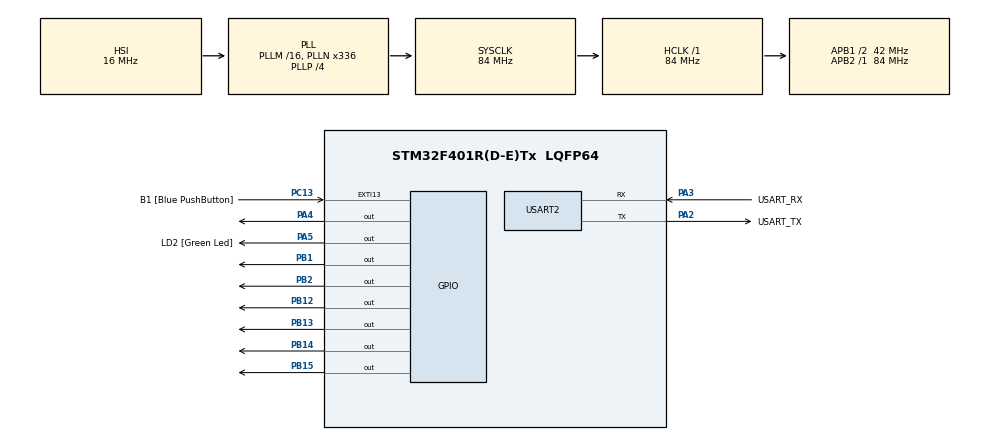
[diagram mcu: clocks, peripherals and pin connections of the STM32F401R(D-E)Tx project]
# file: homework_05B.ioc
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Dma.Request0=USART2_RX
Dma.USART2_RX.0.Direction=DMA_PERIPH_TO_MEMORY
Dma.USART2_RX.0.FIFOMode=DMA_FIFOMODE_DISABLE
Dma.USART2_RX.0.Instance=DMA1_Stream5
Dma.USART2_RX.0.MemDataAlignment=DMA_MDATAALIGN_BYTE
Dma.USART2_RX.0.MemInc=DMA_MINC_ENABLE
Dma.USART2_RX.0.Mode=DMA_NORMAL
Dma.USART2_RX.0.PeriphDataAlignment=DMA_PDATAALIGN_BYTE
Dma.USART2_RX.0.PeriphInc=DMA_PINC_DISABLE
Dma.USART2_RX.0.Priority=DMA_PRIORITY_LOW
Mcu.Family=STM32F4
Mcu.Name=STM32F401R(D-E)Tx
Mcu.Package=LQFP64
NVIC.DMA1_Stream5_IRQn=true\:0\:0\:false\:false\:true\:false\:true\:true
NVIC.PriorityGroup=NVIC_PRIORITYGROUP_4
NVIC.TIM2_IRQn=true\:0\:0\:false\:false\:true\:true\:true\:true
NVIC.USART2_IRQn=true\:0\:0\:false\:false\:true\:true\:true\:true
PA13.GPIO_Label=TMS
PA13.Mode=Trace_Asynchronous_SW
PA13.Signal=SYS_JTMS-SWDIO
PA14.GPIO_Label=TCK
PA14.Mode=Trace_Asynchronous_SW
PA14.Signal=SYS_JTCK-SWCLK
PA2.GPIO_Label=USART_TX
PA2.GPIO_Mode=GPIO_MODE_AF_PP
PA2.GPIO_PuPd=GPIO_NOPULL
PA2.GPIO_Speed=GPIO_SPEED_FREQ_LOW
PA2.Mode=Asynchronous
PA2.Signal=USART2_TX
PA3.GPIO_Label=USART_RX
PA3.GPIO_Mode=GPIO_MODE_AF_PP
PA3.GPIO_PuPd=GPIO_NOPULL
PA3.GPIO_Speed=GPIO_SPEED_FREQ_LOW
PA3.Mode=Asynchronous
PA3.Signal=USART2_RX
PA4.Signal=GPIO_Output
PA5.GPIO_Label=LD2 [Green Led]
PA5.GPIO_Mode=GPIO_MODE_OUTPUT_PP
PA5.GPIO_PuPd=GPIO_NOPULL
PA5.GPIO_Speed=GPIO_SPEED_FREQ_LOW
PA5.Signal=GPIO_Output
PB1.Signal=GPIO_Output
PB12.Signal=GPIO_Output
PB13.Signal=GPIO_Output
PB14.Signal=GPIO_Output
PB15.Signal=GPIO_Output
PB2.Signal=GPIO_Output
PB3.GPIO_Label=SWO
PB3.Mode=Trace_Asynchronous_SW
PB3.Signal=SYS_JTDO-SWO
PC13-ANTI_TAMP.GPIO_Label=B1 [Blue PushButton]
PC13-ANTI_TAMP.GPIO_ModeDefaultEXTI=GPIO_MODE_IT_FALLING
PC13-ANTI_TAMP.GPIO_PuPd=GPIO_NOPULL
PC13-ANTI_TAMP.Signal=GPXTI13
PC14-OSC32_IN.Mode=LSE-External-Oscillator
PC14-OSC32_IN.Signal=RCC_OSC32_IN
PC15-OSC32_OUT.Mode=LSE-External-Oscillator
PC15-OSC32_OUT.Signal=RCC_OSC32_OUT
PH0\ -\ OSC_IN.Mode=HSE-External-Clock-Source
PH0\ -\ OSC_IN.Signal=RCC_OSC_IN
PH1\ -\ OSC_OUT.Mode=HSE-External-Clock-Source
PH1\ -\ OSC_OUT.Signal=RCC_OSC_OUT
ProjectManager.HeapSize=0x200
ProjectManager.StackSize=0x400
ProjectManager.TargetToolchain=CMake
RCC.48MHZClocksFreq_Value=48000000
RCC.AHBFreq_Value=84000000
RCC.APB1CLKDivider=RCC_HCLK_DIV2
RCC.APB1Freq_Value=42000000
RCC.APB1TimFreq_Value=84000000
RCC.APB2Freq_Value=84000000
RCC.APB2TimFreq_Value=84000000
RCC.CortexFreq_Value=84000000
RCC.HCLKFreq_Value=84000000
RCC.HSE_VALUE=8000000
RCC.HSI_VALUE=16000000
RCC.PLLN=336
RCC.PLLP=RCC_PLLP_DIV4
RCC.PLLQ=7
RCC.SYSCLKFreq_VALUE=84000000
RCC.SYSCLKSource=RCC_SYSCLKSOURCE_PLLCLK
RCC.VCOOutputFreq_Value=336000000
TIM2.Period=1000-1
TIM2.Prescaler=84-1
USART2.VirtualMode=VM_ASYNC
VP_TIM2_VS_ClockSourceINT.Mode=Internal
board=NUCLEO-F401RE

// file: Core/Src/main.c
/* USER CODE BEGIN Header */
/**
  ******************************************************************************
  * @file           : main.c
  * @brief          : Main program body
  ******************************************************************************
  * @attention
  *
  * Copyright (c) 2026 STMicroelectronics.
  * All rights reserved.
  *
  * This software is licensed under terms that can be found in the LICENSE file
  * in the root directory of this software component.
  * If no LICENSE file comes with this software, it is provided AS-IS.
  *
  ******************************************************************************
  */
/* USER CODE END Header */
#include "main.h"

/* USER CODE BEGIN Includes */
#include "PMDB16_LCD.h"
#include <string.h>
#include <stdio.h>
#include <stdbool.h>
/* USER CODE END Includes */

TIM_HandleTypeDef htim2;

UART_HandleTypeDef huart2;
DMA_HandleTypeDef hdma_usart2_rx;

/* USER CODE BEGIN PV */
#define RX_SIZE 128 // max size is 64, we put 128 to better handle corner cases
char rx[RX_SIZE];
char first_line[17];
char second_line[17];
int timer = 0;
int message_offset = 0;
bool exceeded = false;
/* USER CODE END PV */

void SystemClock_Config(void);
static void MX_GPIO_Init(void);
static void MX_DMA_Init(void);
static void MX_USART2_UART_Init(void);
static void MX_TIM2_Init(void);

int main(void)
{

  /* MCU Configuration--------------------------------------------------------*/

  /* Reset of all peripherals, Initializes the Flash interface and the Systick. */
  HAL_Init();

  /* Configure the system clock */
  SystemClock_Config();

  /* Initialize all configured peripherals */
  MX_GPIO_Init();
  MX_DMA_Init();
  MX_USART2_UART_Init();
  MX_TIM2_Init();
  /* USER CODE BEGIN 2 */
  lcd_initialize();
  lcd_backlight_ON();
  lcd_clear();

  HAL_UARTEx_ReceiveToIdle_DMA(&huart2, (uint8_t*)rx, RX_SIZE);
  __HAL_DMA_DISABLE_IT(&hdma_usart2_rx, DMA_IT_HT);
  /* USER CODE END 2 */

  /* Infinite loop */
  while (1)
  {

  }
}

void SystemClock_Config(void)
{
  RCC_OscInitTypeDef RCC_OscInitStruct = {0};
  RCC_ClkInitTypeDef RCC_ClkInitStruct = {0};

  /** Configure the main internal regulator output voltage
  */
  __HAL_RCC_PWR_CLK_ENABLE();
  __HAL_PWR_VOLTAGESCALING_CONFIG(PWR_REGULATOR_VOLTAGE_SCALE2);

  /** Initializes the RCC Oscillators according to the specified parameters
  * in the RCC_OscInitTypeDef structure.
  */
  RCC_OscInitStruct.OscillatorType = RCC_OSCILLATORTYPE_HSI;
  RCC_OscInitStruct.HSIState = RCC_HSI_ON;
  RCC_OscInitStruct.HSICalibrationValue = RCC_HSICALIBRATION_DEFAULT;
  RCC_OscInitStruct.PLL.PLLState = RCC_PLL_ON;
  RCC_OscInitStruct.PLL.PLLSource = RCC_PLLSOURCE_HSI;
  RCC_OscInitStruct.PLL.PLLM = 16;
  RCC_OscInitStruct.PLL.PLLN = 336;
  RCC_OscInitStruct.PLL.PLLP = RCC_PLLP_DIV4;
  RCC_OscInitStruct.PLL.PLLQ = 7;
  if (HAL_RCC_OscConfig(&RCC_OscInitStruct) != HAL_OK)
  {
    Error_Handler();
  }

  /** Initializes the CPU, AHB and APB buses clocks
  */
  RCC_ClkInitStruct.ClockType = RCC_CLOCKTYPE_HCLK|RCC_CLOCKTYPE_SYSCLK
                              |RCC_CLOCKTYPE_PCLK1|RCC_CLOCKTYPE_PCLK2;
  RCC_ClkInitStruct.SYSCLKSource = RCC_SYSCLKSOURCE_PLLCLK;
  RCC_ClkInitStruct.AHBCLKDivider = RCC_SYSCLK_DIV1;
  RCC_ClkInitStruct.APB1CLKDivider = RCC_HCLK_DIV2;
  RCC_ClkInitStruct.APB2CLKDivider = RCC_HCLK_DIV1;

  if (HAL_RCC_ClockConfig(&RCC_ClkInitStruct, FLASH_LATENCY_2) != HAL_OK)
  {
    Error_Handler();
  }
}

static void MX_TIM2_Init(void)
{

  TIM_ClockConfigTypeDef sClockSourceConfig = {0};
  TIM_MasterConfigTypeDef sMasterConfig = {0};

  htim2.Instance = TIM2;
  htim2.Init.Prescaler = 84-1;
  htim2.Init.CounterMode = TIM_COUNTERMODE_UP;
  htim2.Init.Period = 1000-1;
  htim2.Init.ClockDivision = TIM_CLOCKDIVISION_DIV1;
  htim2.Init.AutoReloadPreload = TIM_AUTORELOAD_PRELOAD_DISABLE;
  if (HAL_TIM_Base_Init(&htim2) != HAL_OK)
  {
    Error_Handler();
  }
  sClockSourceConfig.ClockSource = TIM_CLOCKSOURCE_INTERNAL;
  if (HAL_TIM_ConfigClockSource(&htim2, &sClockSourceConfig) != HAL_OK)
  {
    Error_Handler();
  }
  sMasterConfig.MasterOutputTrigger = TIM_TRGO_RESET;
  sMasterConfig.MasterSlaveMode = TIM_MASTERSLAVEMODE_DISABLE;
  if (HAL_TIMEx_MasterConfigSynchronization(&htim2, &sMasterConfig) != HAL_OK)
  {
    Error_Handler();
  }

}

static void MX_USART2_UART_Init(void)
{

  huart2.Instance = USART2;
  huart2.Init.BaudRate = 115200;
  huart2.Init.WordLength = UART_WORDLENGTH_8B;
  huart2.Init.StopBits = UART_STOPBITS_1;
  huart2.Init.Parity = UART_PARITY_NONE;
  huart2.Init.Mode = UART_MODE_TX_RX;
  huart2.Init.HwFlowCtl = UART_HWCONTROL_NONE;
  huart2.Init.OverSampling = UART_OVERSAMPLING_16;
  if (HAL_UART_Init(&huart2) != HAL_OK)
  {
    Error_Handler();
  }

}

static void MX_DMA_Init(void)
{

  /* DMA controller clock enable */
  __HAL_RCC_DMA1_CLK_ENABLE();

  /* DMA interrupt init */
  /* DMA1_Stream5_IRQn interrupt configuration */
  HAL_NVIC_SetPriority(DMA1_Stream5_IRQn, 0, 0);
  HAL_NVIC_EnableIRQ(DMA1_Stream5_IRQn);

}

static void MX_GPIO_Init(void)
{
  GPIO_InitTypeDef GPIO_InitStruct = {0};

  /* GPIO Ports Clock Enable */
  __HAL_RCC_GPIOC_CLK_ENABLE();
  __HAL_RCC_GPIOH_CLK_ENABLE();
  __HAL_RCC_GPIOA_CLK_ENABLE();
  __HAL_RCC_GPIOB_CLK_ENABLE();

  /*Configure GPIO pin Output Level */
  HAL_GPIO_WritePin(GPIOA, GPIO_PIN_4|LD2_Pin, GPIO_PIN_RESET);

  /*Configure GPIO pin Output Level */
  HAL_GPIO_WritePin(GPIOB, GPIO_PIN_1|GPIO_PIN_2|GPIO_PIN_12|GPIO_PIN_13
                          |GPIO_PIN_14|GPIO_PIN_15, GPIO_PIN_RESET);

  /*Configure GPIO pin : B1_Pin */
  GPIO_InitStruct.Pin = B1_Pin;
  GPIO_InitStruct.Mode = GPIO_MODE_IT_FALLING;
  GPIO_InitStruct.Pull = GPIO_NOPULL;
  HAL_GPIO_Init(B1_GPIO_Port, &GPIO_InitStruct);

  /*Configure GPIO pins : PA4 LD2_Pin */
  GPIO_InitStruct.Pin = GPIO_PIN_4|LD2_Pin;
  GPIO_InitStruct.Mode = GPIO_MODE_OUTPUT_PP;
  GPIO_InitStruct.Pull = GPIO_NOPULL;
  GPIO_InitStruct.Speed = GPIO_SPEED_FREQ_LOW;
  HAL_GPIO_Init(GPIOA, &GPIO_InitStruct);

  /*Configure GPIO pins : PB1 PB2 PB12 PB13
                           PB14 PB15 */
  GPIO_InitStruct.Pin = GPIO_PIN_1|GPIO_PIN_2|GPIO_PIN_12|GPIO_PIN_13
                          |GPIO_PIN_14|GPIO_PIN_15;
  GPIO_InitStruct.Mode = GPIO_MODE_OUTPUT_PP;
  GPIO_InitStruct.Pull = GPIO_NOPULL;
  GPIO_InitStruct.Speed = GPIO_SPEED_FREQ_LOW;
  HAL_GPIO_Init(GPIOB, &GPIO_InitStruct);

}

/* USER CODE BEGIN 4 */
void HAL_UARTEx_RxEventCallback(UART_HandleTypeDef *huart, uint16_t Size)
{
  if (huart == &huart2)
  {
    if (Size >= RX_SIZE) {
      Size = RX_SIZE-1;
    }
    rx[Size] = '\0';

    while (Size > 0 && (rx[Size - 1] == '\r' || rx[Size - 1] == '\n')) {
      rx[--Size] = '\0';
    }

    if (Size > 64) {
      exceeded = true;
      Size = 64;
      rx[64] = '\0';
    } else {
      exceeded = false;
    }

    bool empty = true;
    for(int i = 0; i < Size; i++) {
      if (rx[i] != ' ')
      {
        empty = false;
        break;
      }
    }

    HAL_TIM_Base_Stop_IT(&htim2);
    timer = 0;
    lcd_clear();

    if (empty) {
      lcd_println("--EMPTY STRING--", 0);
    } else if (Size > 16 && Size <= 32) {
      strncpy(first_line, rx, 16);
      first_line[16] = '\0';
      strncpy(second_line, rx + 16, 16);
      second_line[16] = '\0';
      lcd_println(first_line, 0);
      lcd_println(second_line, 1);
    } else if (Size > 32){
      strncpy(first_line, rx, 16);
      first_line[16] = '\0';
      strncpy(second_line, rx + 16, 16);
      second_line[16] = '\0';
      lcd_println(first_line, 0);
      lcd_println(second_line, 1);
      message_offset = 16;
      HAL_TIM_Base_Start_IT(&htim2);
    } else {
      lcd_println(rx, 0);
    }

    HAL_UARTEx_ReceiveToIdle_DMA(&huart2, (uint8_t*)rx, RX_SIZE);
    __HAL_DMA_DISABLE_IT(&hdma_usart2_rx, DMA_IT_HT);
  }
}

void HAL_TIM_PeriodElapsedCallback(TIM_HandleTypeDef *htim)
{
  if (htim == &htim2)
  {
    timer++;
    if (timer >= 1500) {
      int length = strlen(rx);

      if (message_offset >= length) {
        message_offset = 0;
      }

      first_line[0] = '\0';
      second_line[0] = '\0';

      if (message_offset < length) {
        strncpy(first_line, rx + message_offset, 16);
        first_line[16] = '\0';
      }
      if (message_offset + 16 < length) {
        strncpy(second_line, rx + message_offset + 16, 16);
        second_line[16] = '\0';

      }

      lcd_clear();
      lcd_println(first_line, 0);
      if (second_line[0] != '\0') {
        lcd_println(second_line, 1);
      } else if (exceeded) {
        lcd_println("-LIMIT EXCEEDED-", 1);
      }

      message_offset += 16;
      timer = 0;
    }
  }
}

void HAL_UART_ErrorCallback(UART_HandleTypeDef *huart)
{
  if (huart == &huart2)
  {
    HAL_UARTEx_ReceiveToIdle_DMA(&huart2, (uint8_t*)rx, RX_SIZE);
    __HAL_DMA_DISABLE_IT(&hdma_usart2_rx, DMA_IT_HT);
  }
}
/* USER CODE END 4 */

void Error_Handler(void)
{
  __disable_irq();
  while (1)
  {
  }
}
